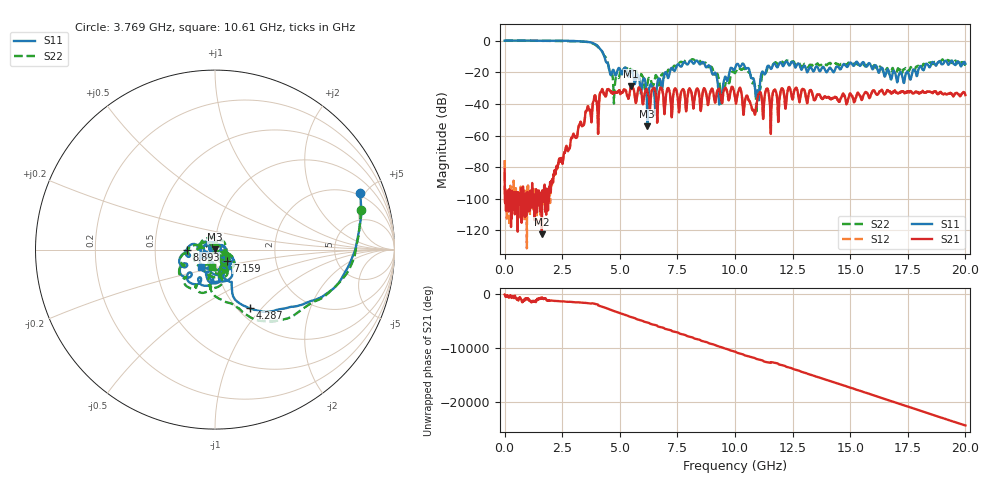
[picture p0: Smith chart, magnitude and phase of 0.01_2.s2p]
#  HZ  S  RI  R  50.00
! Rohde & Schwarz Vector Network Analyzer
! Rohde-Schwarz,ZNB20-2Port,1311601062102128,3.60
! Created: UTC 4/29/2024, 2:51:11 PM
! freq[Hz]  re:S11  im:S11  re:S21  im:S21  re:S12  im:S12  re:S22  im:S22
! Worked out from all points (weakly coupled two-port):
!   2007 points, 100 kHz to 20 GHz, reference 50 ohm
!   highest |S21| = -28.76 dB at 5.494 GHz (marker M1); lowest = -122.5 dB at 1.615 GHz (marker M2)
!   lowest |S11| = -54.3 dB at 6.191 GHz (marker M3), VSWR 1.00, Z = 50.1 + j0.186 ohm
!   |S11| at or under -10 dB: 4.328 GHz to end of sweep
!   |S22| runs from -46.1 to 0.1 dB; largest |S21 - S12| = 0.0022
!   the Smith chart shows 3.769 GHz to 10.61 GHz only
!   S11 on the Smith chart (normalised r, x): 3.769 GHz: 1.80, +4.59; 4.287 GHz: 1.13, -0.86; 7.159 GHz: 1.14, -0.14; 8.893 GHz: 0.73, -0.00; 10.61 GHz: 0.84, -0.17
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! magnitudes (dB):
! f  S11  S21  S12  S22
! 100 kHz  0.0  -81.4  -75.6  0.1
! 1.615 GHz  -0.1  -122.5  -101.2  -0.2
! 2.233 GHz  0.0  -81.7  -82.2  -0.3
! 3.34 GHz  -0.6  -53.5  -53.3  -0.6
! 3.769 GHz  -1.2  -51.5  -51.7  -1.5
! 4.287 GHz  -8.4  -32.6  -32.7  -8.7
! 4.776 GHz  -20.4  -32.8  -32.8  -29.7
! 5.494 GHz  -18.7  -28.8  -28.8  -19.7
! 6.191 GHz  -54.3  -32.1  -32.2  -28.3
! 6.67 GHz  -24.4  -37.4  -37.4  -25.8
! 7.159 GHz  -20.8  -32.2  -32.1  -19.2
! 7.916 GHz  -15.1  -39.2  -39.2  -12.0
! 8.893 GHz  -16.0  -34.3  -34.3  -16.6
! 9.372 GHz  -35.0  -34.3  -34.3  -33.8
! 10 GHz  -17.5  -35.6  -35.6  -20.5
! 10.61 GHz  -18.0  -37.8  -37.8  -20.0
! 10.82 GHz  -24.6  -44.5  -44.5  -26.1
! 10.97 GHz  -31.5  -37.3  -37.3  -31.5
! 11.46 GHz  -15.9  -32.6  -32.7  -16.2
! 13.34 GHz  -18.0  -32.6  -32.7  -15.3
! 16.67 GHz  -19.1  -31.8  -31.9  -20.5
! 20 GHz  -14.7  -34.5  -34.5  -14.3
